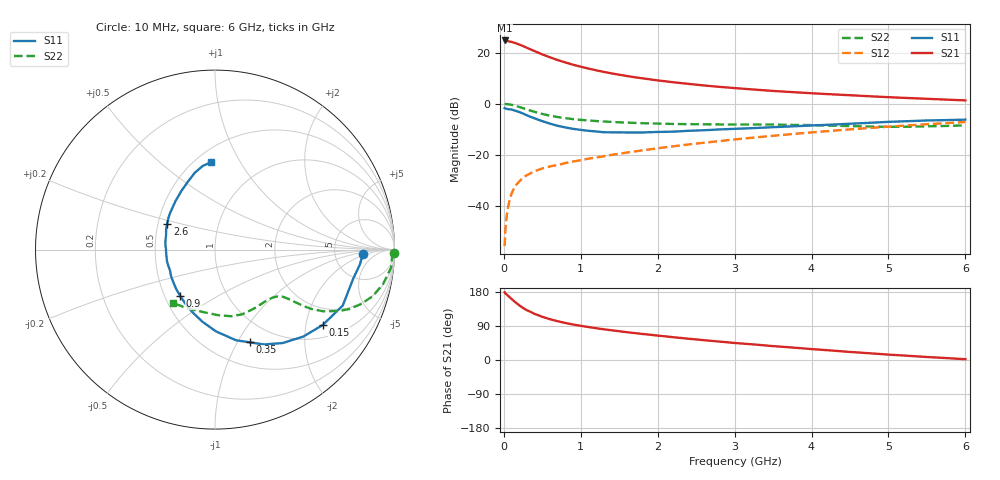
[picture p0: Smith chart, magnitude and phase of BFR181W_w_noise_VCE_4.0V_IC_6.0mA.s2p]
! Infineon Technologies  Discrete & RF Semiconductors
! BFR181W
! VCE =  4.0 V,  IC =  6.0 mA
! Common Emitter S-Parameters:  Jan 2017
# GHz  S  MA  R  50
!  f  S11  S21  S12  S22
! GHz  MAG  ANG  MAG  ANG  MAG  ANG  MAG  ANG
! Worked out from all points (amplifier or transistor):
!   77 points, 10 MHz to 6 GHz, reference 50 ohm
!   highest |S21| = 24.9 dB at 10 MHz (marker M1)
!   |S21| within 3 dB of that: start of sweep to 308.7 MHz
!   unconditionally stable (mu >= 1): 1.227 GHz to 3.269 GHz
!   at 130 MHz: K = 0.19, MSG = 28.7 dB, |S12| = -33.4 dB
!   at 2.2 GHz: K = 1.07, MAG = 10.9 dB, |S12| = -16.7 dB
!   at 6 GHz: K = 0.85, MSG = 4.2 dB, |S12| = -7.2 dB
!   lowest NFmin = 1.03 dB at 450 MHz
!   S11 on the Smith chart (normalised r, x): 10 MHz: 10, -1; 150 MHz: 1.38, -2.50; 350 MHz: 0.76, -1.13; 900 MHz: 0.60, -0.34; 2.6 GHz: 0.56, +0.18; 6 GHz: 0.59, +0.76
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0.01  0.8249 -1.6  17.54 178.8  0.0016 100.7  0.997 -1.2
0.02  0.8108 -6.0  17.41 175.9  0.0034 100.1  0.9875 -2.2
0.05  0.7873 -11.7  17.07 170.4  0.0084 82.5  0.9863 -5.9
0.1  0.777 -23.6  16.44 160.9  0.0171 78.0  0.9559 -11.6
0.15  0.7327 -35.0  15.61 152.4  0.0245 73.7  0.9157 -16.5
0.2  0.6902 -44.6  14.6 144.3  0.0298 69.1  0.8673 -20.5
0.25  0.6427 -54.1  13.62 137.3  0.0358 65.5  0.8197 -23.8
0.3  0.5948 -62.7  12.58 131.3  0.0397 62.7  0.772 -26.3
0.35  0.5526 -69.3  11.67 126.8  0.0435 61.0  0.7326 -27.9
0.4  0.5188 -76.9  10.84 121.5  0.0474 59.5  0.6938 -29.7
0.5  0.4558 -89.3  9.341 113.9  0.0537 57.8  0.6315 -31.6
0.6  0.4076 -100.0  8.181 107.6  0.059 57.2  0.5851 -32.5
0.7  0.3705 -109.9  7.234 102.3  0.0629 57.2  0.5497 -33.0
0.9  0.3224 -127.1  5.858 93.7  0.0735 58.0  0.5009 -33.7
1.1  0.2946 -142.2  4.92 87.0  0.0837 59.4  0.4704 -34.5
1.6  0.2732 -171.6  3.511 73.3  0.1103 62.0  0.4282 -38.0
2.1  0.2816 167.3  2.767 62.4  0.1401 62.6  0.4052 -44.4
2.6  0.3027 151.6  2.293 52.3  0.1719 62.3  0.3954 -52.5
3.1  0.3267 138.4  1.984 43.4  0.2066 60.6  0.3913 -60.7
4.1  0.3809 118.5  1.583 27.4  0.2821 55.4  0.3778 -78.4
5.1  0.4473 103.5  1.329 13.0  0.3635 47.6  0.3538 -103.6
6  0.4886 92.4  1.167 2.1  0.4389 39.2  0.3777 -128.0
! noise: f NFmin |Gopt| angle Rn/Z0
0.45  1.03  0.28  16  0.22
0.9  1.07  0.26  30  0.22
1.9  1.49  0.12  82  0.19
2.4  1.65  0.1  95  0.23
